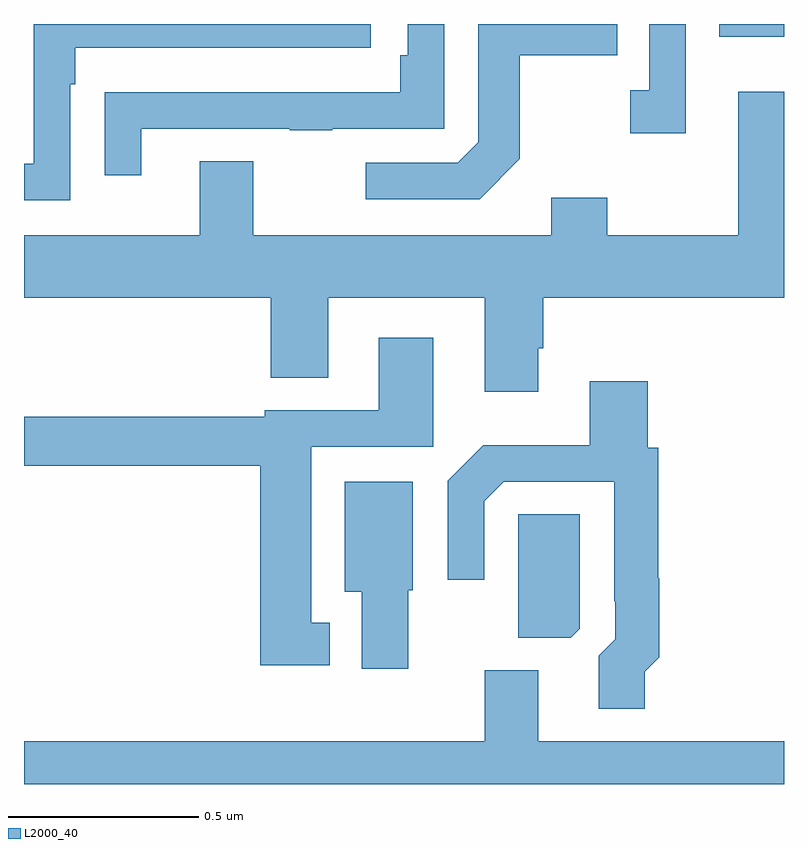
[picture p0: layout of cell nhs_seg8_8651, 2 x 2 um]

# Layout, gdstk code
import gdstk
lib = gdstk.Library(unit=1e-6, precision=1e-09)
def R(c, l, rs):  # rectangles x0, y0, x1, y1
    for r in rs: c.add(gdstk.rectangle(r[:2], r[2:], *l))
def P(c, l, *ps):  # polygons
    for p in ps: c.add(gdstk.Polygon(p, *l))
L2000_40 = (2000, 40)

nhs_seg8_8651 = lib.new_cell('nhs_seg8_8651')
R(nhs_seg8_8651, L2000_40, [(227.829,1103.867,228,1103.9)])
P(nhs_seg8_8651, L2000_40, [(226.122,1103.741),(226.135,1103.741),(226.135,1103.838),(226.912,1103.838),(226.912,1103.9),(226.026,1103.9),(226.026,1103.532),(226,1103.532),(226,1103.436),(226.122,1103.436)],
  [(227.305,1103.545),(227.305,1103.818),(227.561,1103.818),(227.561,1103.9),(227.196,1103.9),(227.196,1103.589),(227.142,1103.535),(226.899,1103.535),(226.899,1103.439),(227.199,1103.439)],
  [(227.742,1103.9),(227.646,1103.9),(227.646,1103.726),(227.595,1103.726),(227.595,1103.613),(227.742,1103.613)],
  [(226.309,1103.625),(226.699,1103.625),(226.699,1103.62),(226.811,1103.62),(226.811,1103.625),(227.106,1103.625),(227.106,1103.9),(227.01,1103.9),(227.01,1103.818),(226.99,1103.818),(226.99,1103.721),(226.315,1103.721),(226.315,1103.72),(226.213,1103.72),(226.213,1103.502),(226.309,1103.502)],
  [(227.353,1103.047),(227.366,1103.047),(227.366,1103.18),(228,1103.18),(228,1103.722),(227.879,1103.722),(227.879,1103.344),(227.535,1103.344),(227.535,1103.443),(227.387,1103.443),(227.387,1103.344),(226.603,1103.344),(226.603,1103.539),(226.463,1103.539),(226.463,1103.344),(226,1103.344),(226,1103.18),(226.649,1103.18),(226.649,1102.969),(226.801,1102.969),(226.801,1103.18),(227.213,1103.18),(227.213,1102.932),(227.353,1102.932)],
  [(226.804,1102.325),(226.756,1102.325),(226.756,1102.788),(227.077,1102.788),(227.077,1103.074),(226.934,1103.074),(226.934,1102.884),(226.634,1102.884),(226.634,1102.867),(226,1102.867),(226,1102.738),(226.622,1102.738),(226.622,1102.212),(226.804,1102.212)],
  [(227.633,1102.195),(227.672,1102.234),(227.672,1102.442),(227.669,1102.442),(227.669,1102.785),(227.642,1102.785),(227.642,1102.96),(227.489,1102.96),(227.489,1102.792),(227.209,1102.792),(227.115,1102.698),(227.115,1102.437),(227.211,1102.437),(227.211,1102.644),(227.262,1102.695),(227.553,1102.695),(227.553,1102.381),(227.556,1102.381),(227.556,1102.281),(227.513,1102.238),(227.513,1102.098),(227.633,1102.098)],
  [(227.011,1102.41),(227.023,1102.41),(227.023,1102.696),(226.844,1102.696),(226.844,1102.406),(226.889,1102.406),(226.889,1102.203),(227.011,1102.203)],
  [(227.463,1102.308),(227.463,1102.61),(227.301,1102.61),(227.301,1102.499),(227.3,1102.499),(227.3,1102.285),(227.439,1102.285)],
  [(228,1102.012),(227.353,1102.012),(227.353,1102.2),(227.213,1102.2),(227.213,1102.012),(226,1102.012),(226,1101.9),(228,1101.9)])

lib.write_gds('nhs_seg8_8651.gds')
